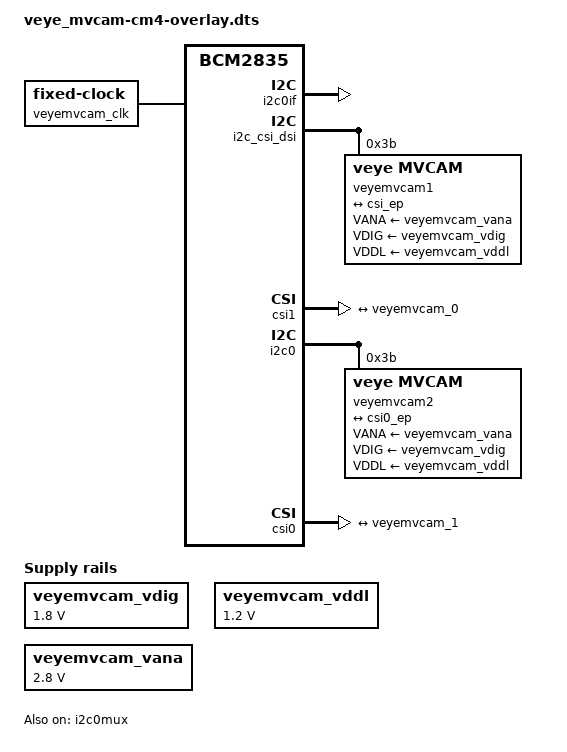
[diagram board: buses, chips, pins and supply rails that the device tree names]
// SPDX-License-Identifier: GPL-2.0-only
// Definitions for VEYE MVCAM camera module on VC I2C bus
/dts-v1/;
/plugin/;

/{
	compatible = "brcm,bcm2835";
	fragment@0 {
		target = <&i2c0if>;
		__overlay__ {
			status = "okay";
		};
	};

	fragment@2 {
		target = <&i2c0mux>;
		__overlay__ {
			status = "okay";
		};
	};
	i2c_frag1: fragment@100 {
		target = <&i2c_csi_dsi>;
		__overlay__ {
			#address-cells = <1>;
			#size-cells = <0>;
			status = "okay";

			veyemvcam1: veyemvcam@3b {
				compatible = "veye,mvcam";
				reg = <0x3b>;
				status = "okay";

                clocks = <&veyemvcam_clk>;
				clock-names = "xclk";
				VANA-supply = <&veyemvcam_vana>;	/* 2.8v */
				VDIG-supply = <&veyemvcam_vdig>;	/* 1.8v */
				VDDL-supply = <&veyemvcam_vddl>;	/* 1.2v */
				rotation = <0>;

				port {
					veyemvcam_0: endpoint {
						remote-endpoint = <&csi_ep>;
						clock-lanes = <0>;
						data-lanes = <1 2>;
						clock-noncontinuous;
						link-frequencies =
							/bits/ 64 <750000000>;
					};
				};
			};
		};
	};

	csi_frag1: fragment@101 {
		target = <&csi1>;
		__overlay__ {
			status = "okay";

			port {
				csi_ep: endpoint {
					remote-endpoint = <&veyemvcam_0>;
					clock-lanes = <0>;
					data-lanes = <1 2>;
					clock-noncontinuous;
				};
			};
		};
	};
	i2c_frag2: fragment@102 {
		target = <&i2c0>;
		__overlay__ {
			#address-cells = <1>;
			#size-cells = <0>;
			status = "okay";

			veyemvcam2: veyemvcam@3b {
				compatible = "veye,mvcam";
				reg = <0x3b>;
				status = "okay";
                clocks = <&veyemvcam_clk>;
				clock-names = "xclk";
				VANA-supply = <&veyemvcam_vana>;	/* 2.8v */
				VDIG-supply = <&veyemvcam_vdig>;	/* 1.8v */
				VDDL-supply = <&veyemvcam_vddl>;	/* 1.2v */
				rotation = <0>;

				port {
					veyemvcam_1: endpoint {
						remote-endpoint = <&csi0_ep>;
						clock-lanes = <0>;
						data-lanes = <1 2>;
						clock-noncontinuous;
						link-frequencies =
							/bits/ 64 <750000000>;
					};
				};
			};
		};
	};

	csi_frag2: fragment@103 {
		target = <&csi0>;
		__overlay__ {
			status = "okay";

			port {
				csi0_ep: endpoint {
					remote-endpoint = <&veyemvcam_1>;
					clock-lanes = <0>;
					data-lanes = <1 2>;
					clock-noncontinuous;
				};
			};
		};
	};

fragment@104 {
			target-path="/";
			__overlay__ {

				veyemvcam_vdig: fixedregulator@1 {
					compatible = "regulator-fixed";
					regulator-name = "veyemvcam_vdig";
					regulator-min-microvolt = <1800000>;
					regulator-max-microvolt = <1800000>;
				};
				veyemvcam_vddl: fixedregulator@2 {
					compatible = "regulator-fixed";
					regulator-name = "veyemvcam_vddl";
					regulator-min-microvolt = <1200000>;
					regulator-max-microvolt = <1200000>;
				};
                veyemvcam_vana: fixedregulator@3 {
					compatible = "regulator-fixed";
					regulator-name = "veyemvcam_vana";
					regulator-min-microvolt = <2800000>;
					regulator-max-microvolt = <2800000>;
				};
				veyemvcam_clk: camera-clk {
					compatible = "fixed-clock";
					#clock-cells = <0>;
					clock-frequency = <24000000>;
				};
			};
		};

	__overrides__ {

		cam0 = <&i2c_frag1>, "target:0=",<&i2c_vc>,
		       <&csi_frag1>, "target:0=",<&csi0>;

        cam1 = <&i2c_frag2>, "target:0=",<&i2c_arm>,
		       <&csi_frag2>, "target:0=",<&csi1>;

	};
};
